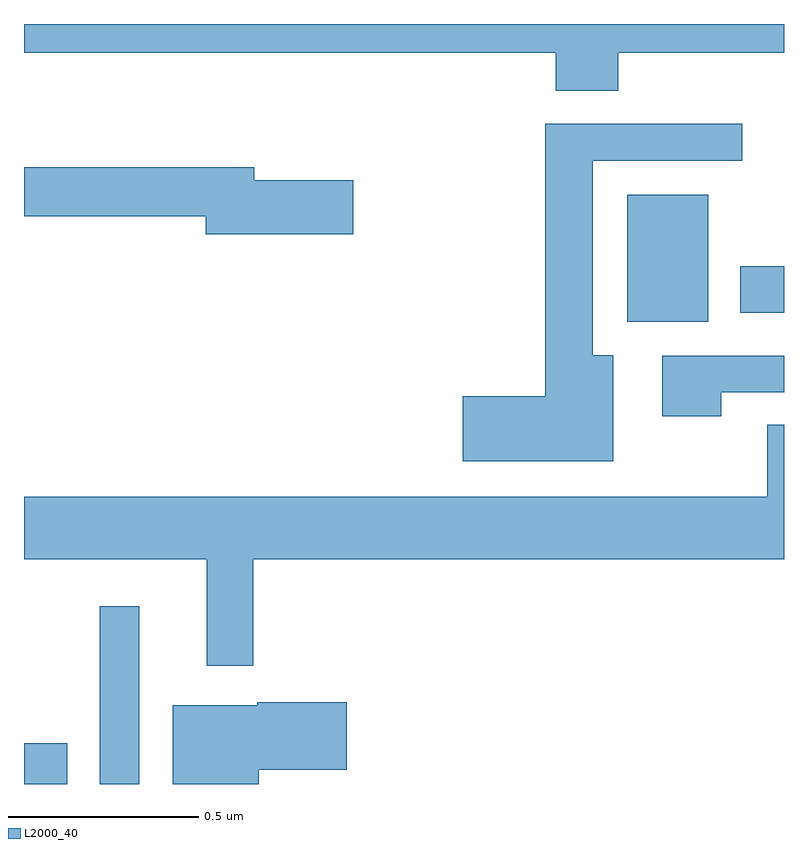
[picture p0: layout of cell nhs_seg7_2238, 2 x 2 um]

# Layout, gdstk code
import gdstk
lib = gdstk.Library(unit=1e-6, precision=1e-09)
def R(c, l, rs):  # rectangles x0, y0, x1, y1
    for r in rs: c.add(gdstk.rectangle(r[:2], r[2:], *l))
def P(c, l, *ps):  # polygons
    for p in ps: c.add(gdstk.Polygon(p, *l))
L2000_40 = (2000, 40)

nhs_seg7_2238 = lib.new_cell('nhs_seg7_2238')
R(nhs_seg7_2238, L2000_40, [(142,1024,142.114,1024.107), (142.199,1024,142.303,1024.468), (143.588,1025.216,143.8,1025.551), (143.885,1025.24,144,1025.362)])
P(nhs_seg7_2238, L2000_40, [(143.564,1025.924),(144,1025.924),(144,1026),(142,1026),(142,1025.924),(143.399,1025.924),(143.399,1025.825),(143.564,1025.825)],
  [(143.551,1025.128),(143.497,1025.128),(143.497,1025.64),(143.89,1025.64),(143.89,1025.738),(143.372,1025.738),(143.372,1025.021),(143.154,1025.021),(143.154,1024.85),(143.551,1024.85)],
  [(142.867,1025.589),(142.606,1025.589),(142.606,1025.623),(142,1025.623),(142,1025.494),(142.478,1025.494),(142.478,1025.447),(142.867,1025.447)],
  [(143.835,1025.031),(144,1025.031),(144,1025.127),(143.679,1025.127),(143.679,1024.968),(143.835,1024.968)],
  [(142.603,1024.592),(144,1024.592),(144,1024.946),(143.956,1024.946),(143.956,1024.756),(142,1024.756),(142,1024.592),(142.481,1024.592),(142.481,1024.311),(142.603,1024.311)],
  [(142.618,1024.037),(142.849,1024.037),(142.849,1024.215),(142.614,1024.215),(142.614,1024.207),(142.391,1024.207),(142.391,1024),(142.618,1024)])

lib.write_gds('nhs_seg7_2238.gds')
